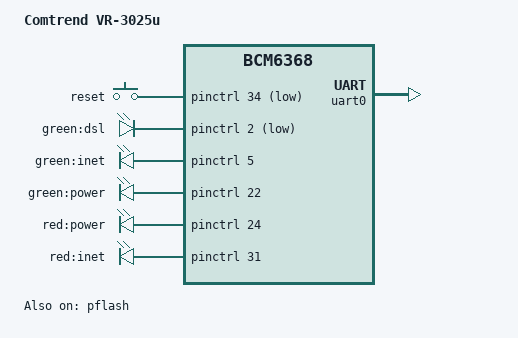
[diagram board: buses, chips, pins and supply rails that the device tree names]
#include "bcm6368.dtsi"

#include <dt-bindings/input/input.h>

/ {
	model = "Comtrend VR-3025u";
	compatible = "comtrend,vr-3025u", "brcm,bcm6368";

	aliases {
		led-boot = &led_power_green;
		led-failsafe = &led_power_green;
		led-running = &led_power_green;
		led-upgrade = &led_power_green;
	};

	chosen {
		bootargs = "rootfstype=squashfs,jffs2 noinitrd console=ttyS0,115200";
		stdout-path = "serial0:115200n8";
	};

	keys {
		compatible = "gpio-keys-polled";
		#address-cells = <1>;
		#size-cells = <0>;
		poll-interval = <20>;

		reset {
			label = "reset";
			gpios = <&pinctrl 34 1>;
			linux,code = <KEY_RESTART>;
			debounce-interval = <60>;
		};
	};

	leds {
		compatible = "gpio-leds";

		dsl_green {
			label = "green:dsl";
			gpios = <&pinctrl 2 1>;
		};
		inet_green {
			label = "green:inet";
			gpios = <&pinctrl 5 0>;
		};
		led_power_green: power_green {
			label = "green:power";
			gpios = <&pinctrl 22 0>;
			default-state = "on";
		};
		power_red {
			label = "red:power";
			gpios = <&pinctrl 24 0>;
		};
		inet_red {
			label = "red:inet";
			gpios = <&pinctrl 31 0>;
		};
	};
};

&pflash {
	status = "okay";

	partitions {
		compatible = "fixed-partitions";
		#address-cells = <1>;
		#size-cells = <1>;

		cfe@0 {
			label = "CFE";
			reg = <0x0000000 0x0020000>;
			read-only;
		};

		linux@20000 {
			label = "linux";
			reg = <0x0020000 0x1fc0000>;
			compatible = "brcm,bcm963xx-imagetag";
		};

		nvram@1fe0000 {
			label = "nvram";
			reg = <0x1fe0000 0x020000>;
		};
	};
};

&pinctrl {
	pinctrl-names = "default";
	pinctrl-0 = <&pinctrl_pci &pinctrl_ephy0_led &pinctrl_ephy1_led
		     &pinctrl_ephy2_led &pinctrl_ephy3_led>;
};

&uart0 {
	status = "okay";
};
